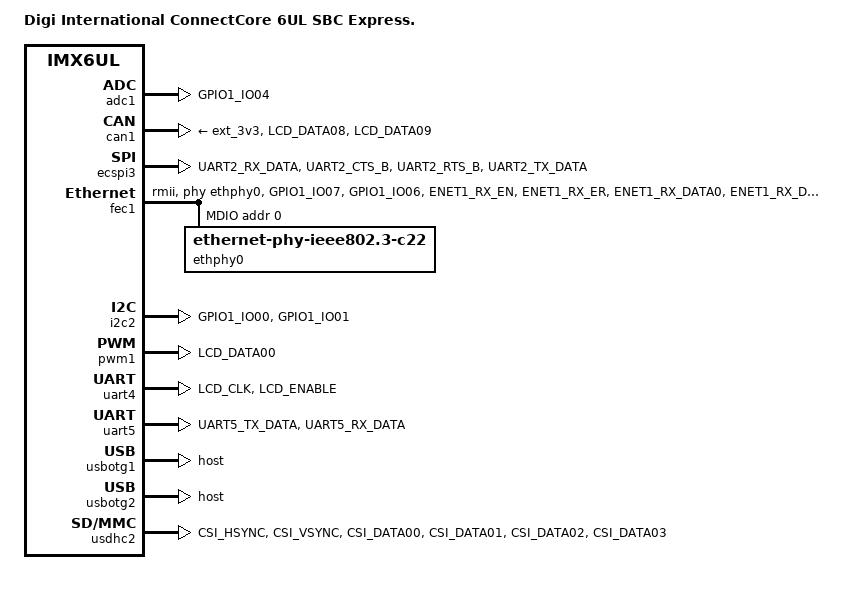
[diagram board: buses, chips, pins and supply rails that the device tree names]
// SPDX-License-Identifier: GPL-2.0
/*
 * Digi International's ConnectCore6UL SBC Express board device tree source
 *
 * Copyright 2018 Digi International, Inc.
 *
 */

/dts-v1/;
#include <dt-bindings/input/input.h>
#include <dt-bindings/interrupt-controller/irq.h>
#include "imx6ul.dtsi"
#include "imx6ul-ccimx6ulsom.dtsi"

/ {
	model = "Digi International ConnectCore 6UL SBC Express.";
	compatible = "digi,ccimx6ulsbcexpress", "digi,ccimx6ulsom",
		     "fsl,imx6ul";
};

&adc1 {
	pinctrl-names = "default";
	pinctrl-0 = <&pinctrl_adc1>;
	status = "okay";
};

&can1 {
	pinctrl-names = "default";
	pinctrl-0 = <&pinctrl_flexcan1>;
	xceiver-supply = <&ext_3v3>;
	status = "okay";
};

&ecspi3 {
	cs-gpios = <&gpio1 20 GPIO_ACTIVE_LOW>;
	pinctrl-names = "default";
	pinctrl-0 = <&pinctrl_ecspi3_master>;
	status = "okay";
};

&fec1 {
	pinctrl-names = "default";
	pinctrl-0 = <&pinctrl_enet1>;
	phy-mode = "rmii";
	phy-handle = <&ethphy0>;
	status = "okay";

	mdio {
		#address-cells = <1>;
		#size-cells = <0>;

		ethphy0: ethernet-phy@0 {
			compatible = "ethernet-phy-ieee802.3-c22";
			smsc,disable-energy-detect;
			reg = <0>;
		};
	};
};

&i2c2 {
	pinctrl-names = "default";
	pinctrl-0 = <&pinctrl_i2c2>;
	status = "okay";
};

&pwm1 {
	pinctrl-names = "default";
	pinctrl-0 = <&pinctrl_pwm1>;
	status = "okay";
};

&uart4 {
	pinctrl-names = "default";
	pinctrl-0 = <&pinctrl_uart4>;
	status = "okay";
};

&uart5 {
	pinctrl-names = "default";
	pinctrl-0 = <&pinctrl_uart5>;
	status = "okay";
};

&usbotg1 {
	dr_mode = "host";
	disable-over-current;
	status = "okay";
};

&usbotg2 {
	dr_mode = "host";
	disable-over-current;
	status = "okay";
};

&usdhc2 {
	pinctrl-names = "default";
	pinctrl-0 = <&pinctrl_usdhc2>;
	broken-cd;      /* no carrier detect line (use polling) */
	no-1-8-v;
	status = "okay";
};

&iomuxc {
	pinctrl-names = "default";
	pinctrl-0 = <&pinctrl_hog>;

	pinctrl_adc1: adc1grp {
		fsl,pins = <
			/* GPIO1_4/ADC1_IN4 (pin 7 of the expansion header) */
			MX6UL_PAD_GPIO1_IO04__GPIO1_IO04        0xb0
		>;
	};

	pinctrl_ecspi3_master: ecspi3-1-grp {
		fsl,pins = <
			MX6UL_PAD_UART2_RX_DATA__ECSPI3_SCLK	0x10b0
			MX6UL_PAD_UART2_CTS_B__ECSPI3_MOSI	0x10b0
			MX6UL_PAD_UART2_RTS_B__ECSPI3_MISO	0x10b0
			MX6UL_PAD_UART2_TX_DATA__GPIO1_IO20	0x10b0 /* Chip Select */
		>;
	};

	pinctrl_ecspi3_slave: ecspi3-2-grp {
		fsl,pins = <
			MX6UL_PAD_UART2_RX_DATA__ECSPI3_SCLK	0x10b0
			MX6UL_PAD_UART2_CTS_B__ECSPI3_MOSI	0x10b0
			MX6UL_PAD_UART2_RTS_B__ECSPI3_MISO	0x10b0
			MX6UL_PAD_UART2_TX_DATA__ECSPI3_SS0	0x10b0 /* Chip Select */
		>;
	};

	pinctrl_enet1: enet1grp {
		fsl,pins = <
			MX6UL_PAD_GPIO1_IO07__ENET1_MDC		0x1b0b0
			MX6UL_PAD_GPIO1_IO06__ENET1_MDIO	0x1b0b0
			MX6UL_PAD_ENET1_RX_EN__ENET1_RX_EN	0x1b0b0
			MX6UL_PAD_ENET1_RX_ER__ENET1_RX_ER	0x1b0b0
			MX6UL_PAD_ENET1_RX_DATA0__ENET1_RDATA00	0x1b0b0
			MX6UL_PAD_ENET1_RX_DATA1__ENET1_RDATA01	0x1b0b0
			MX6UL_PAD_ENET1_TX_EN__ENET1_TX_EN	0x1b0b0
			MX6UL_PAD_ENET1_TX_DATA0__ENET1_TDATA00	0x1b0b0
			MX6UL_PAD_ENET1_TX_DATA1__ENET1_TDATA01	0x1b0b0
			MX6UL_PAD_ENET1_TX_CLK__ENET1_REF_CLK1	0x40017051
		>;
	};

	pinctrl_flexcan1: flexcan1grp {
		fsl,pins = <
			MX6UL_PAD_LCD_DATA08__FLEXCAN1_TX	0x1b020
			MX6UL_PAD_LCD_DATA09__FLEXCAN1_RX	0x1b020
		>;
	};

	pinctrl_i2c2: i2c2grp {
		fsl,pins = <
			MX6UL_PAD_GPIO1_IO00__I2C2_SCL 0x4001b8b0
			MX6UL_PAD_GPIO1_IO01__I2C2_SDA 0x4001b8b0
		>;
	};

	pinctrl_pwm1: pwm1grp {
		fsl,pins = <
			MX6UL_PAD_LCD_DATA00__PWM1_OUT		0x10b0
		>;
	};

	pinctrl_uart4: uart4grp {
		fsl,pins = <
			MX6UL_PAD_LCD_CLK__UART4_DCE_TX		0x1b0b1
			MX6UL_PAD_LCD_ENABLE__UART4_DCE_RX	0x1b0b1
		>;
	};

	pinctrl_uart5: uart5grp {
		fsl,pins = <
			MX6UL_PAD_UART5_TX_DATA__UART5_DCE_TX	0x1b0b1
			MX6UL_PAD_UART5_RX_DATA__UART5_DCE_RX	0x1b0b1
		>;
	};

	pinctrl_usdhc2: usdhc2grp {
		fsl,pins = <
			MX6UL_PAD_CSI_HSYNC__USDHC2_CMD		0x17059
			MX6UL_PAD_CSI_VSYNC__USDHC2_CLK		0x10071
			MX6UL_PAD_CSI_DATA00__USDHC2_DATA0	0x17059
			MX6UL_PAD_CSI_DATA01__USDHC2_DATA1	0x17059
			MX6UL_PAD_CSI_DATA02__USDHC2_DATA2	0x17059
			MX6UL_PAD_CSI_DATA03__USDHC2_DATA3	0x17059
		>;
	};

	/* General purpose pinctrl */
	pinctrl_hog: hoggrp {
		fsl,pins = <
			/* GPIOs BANK 3 */
			MX6UL_PAD_LCD_RESET__GPIO3_IO04		0xf030
		>;
	};
};
